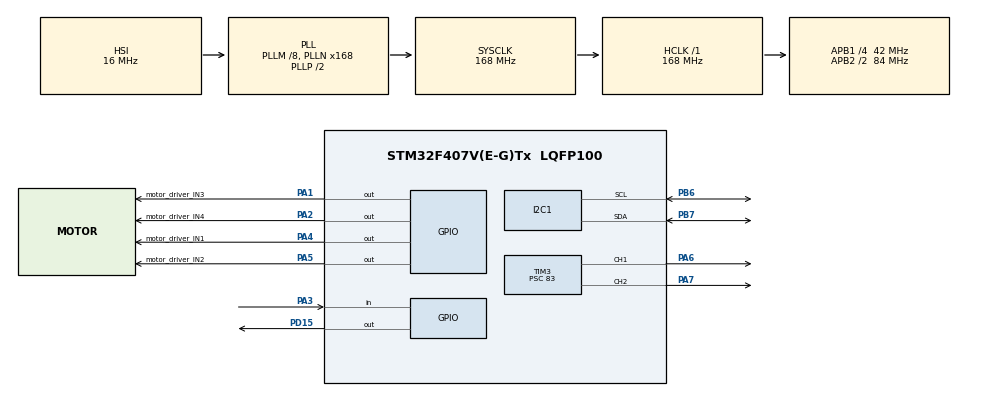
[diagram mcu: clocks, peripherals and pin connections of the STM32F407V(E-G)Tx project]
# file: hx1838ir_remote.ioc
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Mcu.Family=STM32F4
PH0-OSC_IN.Signal=RCC_OSC_IN
RCC.CortexFreq_Value=168000000
RCC.APB1CLKDivider=RCC_HCLK_DIV4
RCC.SYSCLKSource=RCC_SYSCLKSOURCE_PLLCLK
ProjectManager.StackSize=0x400
PA13.Signal=SYS_JTMS-SWDIO
ProjectManager.TargetToolchain=STM32CubeIDE
RCC.HCLKFreq_Value=168000000
RCC.APB2TimFreq_Value=168000000
TIM3.Period=9999
PB6.Signal=I2C1_SCL
PB6.Mode=I2C
RCC.LSE_VALUE=32768
PA1.Signal=GPIO_Output
RCC.AHBFreq_Value=168000000
PH0-OSC_IN.Mode=HSE-External-Oscillator
TIM3.Channel-PWM\ Generation1\ CH1=TIM_CHANNEL_1
PA5.Signal=GPIO_Output
SH.S_TIM3_CH2.0=TIM3_CH2,PWM Generation2 CH2
RCC.HSE_VALUE=8000000
board=custom
RCC.VCOOutputFreq_Value=336000000
RCC.APB2Freq_Value=84000000
PA14.Mode=Serial_Wire
TIM3.Prescaler=83
PA1.GPIO_Label=motor_driver_IN3
PH1-OSC_OUT.Signal=RCC_OSC_OUT
PB7.Signal=I2C1_SDA
SH.S_TIM3_CH1.0=TIM3_CH1,PWM Generation1 CH1
PA13.Mode=Serial_Wire
Mcu.Name=STM32F407V(E-G)Tx
PA2.Signal=GPIO_Output
PH1-OSC_OUT.Mode=HSE-External-Oscillator
RCC.48MHZClocksFreq_Value=84000000
PA4.Signal=GPIO_Output
RCC.SYSCLKFreq_VALUE=168000000
Mcu.Package=LQFP100
PA6.Signal=S_TIM3_CH1
PA5.GPIO_Label=motor_driver_IN2
PA2.GPIO_Label=motor_driver_IN4
PB7.Mode=I2C
PA14.Signal=SYS_JTCK-SWCLK
ProjectManager.HeapSize=0x200
RCC.HSI_VALUE=16000000
NVIC.PriorityGroup=NVIC_PRIORITYGROUP_4
RCC.APB2CLKDivider=RCC_HCLK_DIV2
TIM3.Channel-PWM\ Generation2\ CH2=TIM_CHANNEL_2
RCC.PLLM=8
RCC.PLLN=168
RCC.APB1TimFreq_Value=84000000
RCC.APB1Freq_Value=42000000
PA4.GPIO_Label=motor_driver_IN1
PD15.Signal=GPIO_Output
PA3.Signal=GPIO_Input
PA7.Signal=S_TIM3_CH2

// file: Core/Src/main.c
/* USER CODE BEGIN Header */
/**
  ******************************************************************************
  * @file           : main.c
  * @brief          : Main program body
  ******************************************************************************
  * @attention
  *
  * <h2><center>&copy; Copyright (c) 2021 STMicroelectronics.
  * All rights reserved.</center></h2>
  *
  * This software component is licensed by ST under BSD 3-Clause license,
  * the "License"; You may not use this file except in compliance with the
  * License. You may obtain a copy of the License at:
  *                        opensource.org/licenses/BSD-3-Clause
  *
  ******************************************************************************
  */
/* USER CODE END Header */
#include "main.h"

/* USER CODE BEGIN Includes */
#include "dwt_stm32_delay.h"
/* USER CODE END Includes */

I2C_HandleTypeDef hi2c1;

TIM_HandleTypeDef htim3;

void SystemClock_Config(void);
static void MX_GPIO_Init(void);
static void MX_I2C1_Init(void);
static void MX_TIM3_Init(void);

/* USER CODE BEGIN 0 */
uint32_t data;
uint8_t count;

uint32_t receive_data (void)
{
	uint32_t code=0;

		  /* The START Sequence begin here
	   * there will be a pulse of 9ms LOW and
	   * than 4.5 ms space (HIGH)
	   */
	  while (!(HAL_GPIO_ReadPin (GPIOA, GPIO_PIN_3)));  // wait for the pin to go high.. 9ms LOW

	  while ((HAL_GPIO_ReadPin (GPIOA, GPIO_PIN_3)));  // wait for the pin to go low.. 4.5ms HIGH

	  /* START of FRAME ends here*/

	  /* DATA Reception
	   * We are only going to check the SPACE after 562.5us pulse
	   * if the space is 562.5us, the bit indicates '0'
	   * if the space is around 1.6ms, the bit is '1'
	   */

	  for (int i=0; i<32; i++)
	  {
		  count=0;

		  while (!(HAL_GPIO_ReadPin (GPIOA, GPIO_PIN_3))); // wait for pin to go high.. this is 562.5us LOW

		  while ((HAL_GPIO_ReadPin (GPIOA, GPIO_PIN_3)))  // count the space length while the pin is high
		  {
			  count++;

			  DWT_Delay_us(100);

		  }

		  if (count > 12) // if the space is more than 1.2 ms
		  {
			  code |= (1UL << (31-i));   // write 1
		  }

		  else code &= ~(1UL << (31-i));  // write 0
	  }

		return code;
}

void ileri(int s)
	{
		TIM3 -> CCR1 = s;
		TIM3 -> CCR2= s;

		HAL_GPIO_WritePin(motor_driver_IN1_GPIO_Port, motor_driver_IN1_Pin, GPIO_PIN_SET);
		HAL_GPIO_WritePin(motor_driver_IN2_GPIO_Port, motor_driver_IN2_Pin, GPIO_PIN_RESET);

		HAL_GPIO_WritePin(motor_driver_IN3_GPIO_Port, motor_driver_IN3_Pin, GPIO_PIN_SET);
		HAL_GPIO_WritePin(motor_driver_IN4_GPIO_Port, motor_driver_IN4_Pin, GPIO_PIN_RESET);
	}
void geri(int s)
	{
		TIM3 -> CCR1 = s;
		TIM3 -> CCR2= s;

		HAL_GPIO_WritePin(motor_driver_IN1_GPIO_Port, motor_driver_IN1_Pin, GPIO_PIN_RESET);
		HAL_GPIO_WritePin(motor_driver_IN2_GPIO_Port, motor_driver_IN2_Pin, GPIO_PIN_SET);

		HAL_GPIO_WritePin(motor_driver_IN3_GPIO_Port, motor_driver_IN3_Pin, GPIO_PIN_RESET);
		HAL_GPIO_WritePin(motor_driver_IN4_GPIO_Port, motor_driver_IN4_Pin, GPIO_PIN_SET);
	}
void sag(int s)
	{
		TIM3 -> CCR1 = s;
		TIM3 -> CCR2= s;

		HAL_GPIO_WritePin(motor_driver_IN1_GPIO_Port, motor_driver_IN1_Pin, GPIO_PIN_RESET);
		HAL_GPIO_WritePin(motor_driver_IN2_GPIO_Port, motor_driver_IN2_Pin, GPIO_PIN_RESET);

		HAL_GPIO_WritePin(motor_driver_IN3_GPIO_Port, motor_driver_IN3_Pin, GPIO_PIN_SET);
		HAL_GPIO_WritePin(motor_driver_IN4_GPIO_Port, motor_driver_IN4_Pin, GPIO_PIN_RESET);
	}
void sol(int s)
	{
		TIM3 -> CCR1 = s;
		TIM3 -> CCR2= s;

		HAL_GPIO_WritePin(motor_driver_IN1_GPIO_Port, motor_driver_IN1_Pin, GPIO_PIN_SET);
		HAL_GPIO_WritePin(motor_driver_IN2_GPIO_Port, motor_driver_IN2_Pin, GPIO_PIN_RESET);

		HAL_GPIO_WritePin(motor_driver_IN3_GPIO_Port, motor_driver_IN3_Pin, GPIO_PIN_RESET);
		HAL_GPIO_WritePin(motor_driver_IN4_GPIO_Port, motor_driver_IN4_Pin, GPIO_PIN_RESET);
	}
void stop(int s)
	{
		TIM3 -> CCR1 = s;
		TIM3 -> CCR2= s;

		HAL_GPIO_WritePin(motor_driver_IN1_GPIO_Port, motor_driver_IN1_Pin, GPIO_PIN_RESET);
		HAL_GPIO_WritePin(motor_driver_IN2_GPIO_Port, motor_driver_IN2_Pin, GPIO_PIN_RESET);

		HAL_GPIO_WritePin(motor_driver_IN3_GPIO_Port, motor_driver_IN3_Pin, GPIO_PIN_RESET);
		HAL_GPIO_WritePin(motor_driver_IN4_GPIO_Port, motor_driver_IN4_Pin, GPIO_PIN_RESET);
	}

void convert_code (uint32_t code)
{
		switch (code)
		{
			case (2155842675)://2
		    ileri(2000);
			break;

			case (2155849050)://8
			geri(2000);
		    break;

			case (2155841655)://4
			sol(2000);
			break;

			case (2155851090)://6
			sag(2000);
			break;

			case (2155846755)://5
			stop(2000);
			break;

			default :
				break;

		}

}
/* USER CODE END 0 */

int main(void)
{

  /* MCU Configuration--------------------------------------------------------*/

  /* Reset of all peripherals, Initializes the Flash interface and the Systick. */

	HAL_Init();

  /* Configure the system clock */
  SystemClock_Config();

  /* Initialize all configured peripherals */
  MX_GPIO_Init();
  MX_I2C1_Init();
  MX_TIM3_Init();
  /* USER CODE BEGIN 2 */
  DWT_Delay_Init();
  HAL_TIM_PWM_Start(&htim3, TIM_CHANNEL_1);
  HAL_TIM_PWM_Start(&htim3, TIM_CHANNEL_2);
  /* USER CODE END 2 */

  /* Infinite loop */
  while (1)
  {

    /* USER CODE BEGIN 3 */
	//  while (HAL_GPIO_ReadPin (GPIOA, GPIO_PIN_1));   // wait for the pin to go low

	  		data = receive_data ();

	  		convert_code (data);

	  		HAL_Delay (200);
  }
  /* USER CODE END 3 */
}

void SystemClock_Config(void)
{
  RCC_OscInitTypeDef RCC_OscInitStruct = {0};
  RCC_ClkInitTypeDef RCC_ClkInitStruct = {0};

  /** Configure the main internal regulator output voltage
  */
  __HAL_RCC_PWR_CLK_ENABLE();
  __HAL_PWR_VOLTAGESCALING_CONFIG(PWR_REGULATOR_VOLTAGE_SCALE1);
  /** Initializes the RCC Oscillators according to the specified parameters
  * in the RCC_OscInitTypeDef structure.
  */
  RCC_OscInitStruct.OscillatorType = RCC_OSCILLATORTYPE_HSI;
  RCC_OscInitStruct.HSIState = RCC_HSI_ON;
  RCC_OscInitStruct.HSICalibrationValue = RCC_HSICALIBRATION_DEFAULT;
  RCC_OscInitStruct.PLL.PLLState = RCC_PLL_ON;
  RCC_OscInitStruct.PLL.PLLSource = RCC_PLLSOURCE_HSI;
  RCC_OscInitStruct.PLL.PLLM = 8;
  RCC_OscInitStruct.PLL.PLLN = 168;
  RCC_OscInitStruct.PLL.PLLP = RCC_PLLP_DIV2;
  RCC_OscInitStruct.PLL.PLLQ = 4;
  if (HAL_RCC_OscConfig(&RCC_OscInitStruct) != HAL_OK)
  {
    Error_Handler();
  }
  /** Initializes the CPU, AHB and APB buses clocks
  */
  RCC_ClkInitStruct.ClockType = RCC_CLOCKTYPE_HCLK|RCC_CLOCKTYPE_SYSCLK
                              |RCC_CLOCKTYPE_PCLK1|RCC_CLOCKTYPE_PCLK2;
  RCC_ClkInitStruct.SYSCLKSource = RCC_SYSCLKSOURCE_PLLCLK;
  RCC_ClkInitStruct.AHBCLKDivider = RCC_SYSCLK_DIV1;
  RCC_ClkInitStruct.APB1CLKDivider = RCC_HCLK_DIV4;
  RCC_ClkInitStruct.APB2CLKDivider = RCC_HCLK_DIV2;

  if (HAL_RCC_ClockConfig(&RCC_ClkInitStruct, FLASH_LATENCY_5) != HAL_OK)
  {
    Error_Handler();
  }
}

static void MX_I2C1_Init(void)
{

  hi2c1.Instance = I2C1;
  hi2c1.Init.ClockSpeed = 100000;
  hi2c1.Init.DutyCycle = I2C_DUTYCYCLE_2;
  hi2c1.Init.OwnAddress1 = 0;
  hi2c1.Init.AddressingMode = I2C_ADDRESSINGMODE_7BIT;
  hi2c1.Init.DualAddressMode = I2C_DUALADDRESS_DISABLE;
  hi2c1.Init.OwnAddress2 = 0;
  hi2c1.Init.GeneralCallMode = I2C_GENERALCALL_DISABLE;
  hi2c1.Init.NoStretchMode = I2C_NOSTRETCH_DISABLE;
  if (HAL_I2C_Init(&hi2c1) != HAL_OK)
  {
    Error_Handler();
  }

}

static void MX_TIM3_Init(void)
{

  TIM_MasterConfigTypeDef sMasterConfig = {0};
  TIM_OC_InitTypeDef sConfigOC = {0};

  htim3.Instance = TIM3;
  htim3.Init.Prescaler = 83;
  htim3.Init.CounterMode = TIM_COUNTERMODE_UP;
  htim3.Init.Period = 9999;
  htim3.Init.ClockDivision = TIM_CLOCKDIVISION_DIV1;
  htim3.Init.AutoReloadPreload = TIM_AUTORELOAD_PRELOAD_DISABLE;
  if (HAL_TIM_PWM_Init(&htim3) != HAL_OK)
  {
    Error_Handler();
  }
  sMasterConfig.MasterOutputTrigger = TIM_TRGO_RESET;
  sMasterConfig.MasterSlaveMode = TIM_MASTERSLAVEMODE_DISABLE;
  if (HAL_TIMEx_MasterConfigSynchronization(&htim3, &sMasterConfig) != HAL_OK)
  {
    Error_Handler();
  }
  sConfigOC.OCMode = TIM_OCMODE_PWM1;
  sConfigOC.Pulse = 0;
  sConfigOC.OCPolarity = TIM_OCPOLARITY_HIGH;
  sConfigOC.OCFastMode = TIM_OCFAST_DISABLE;
  if (HAL_TIM_PWM_ConfigChannel(&htim3, &sConfigOC, TIM_CHANNEL_1) != HAL_OK)
  {
    Error_Handler();
  }
  if (HAL_TIM_PWM_ConfigChannel(&htim3, &sConfigOC, TIM_CHANNEL_2) != HAL_OK)
  {
    Error_Handler();
  }
  HAL_TIM_MspPostInit(&htim3);

}

static void MX_GPIO_Init(void)
{
  GPIO_InitTypeDef GPIO_InitStruct = {0};

  /* GPIO Ports Clock Enable */
  __HAL_RCC_GPIOH_CLK_ENABLE();
  __HAL_RCC_GPIOA_CLK_ENABLE();
  __HAL_RCC_GPIOD_CLK_ENABLE();
  __HAL_RCC_GPIOB_CLK_ENABLE();

  /*Configure GPIO pin Output Level */
  HAL_GPIO_WritePin(GPIOA, motor_driver_IN3_Pin|motor_driver_IN4_Pin|motor_driver_IN1_Pin|motor_driver_IN2_Pin, GPIO_PIN_RESET);

  /*Configure GPIO pin Output Level */
  HAL_GPIO_WritePin(GPIOD, GPIO_PIN_15, GPIO_PIN_RESET);

  /*Configure GPIO pins : motor_driver_IN3_Pin motor_driver_IN4_Pin motor_driver_IN1_Pin motor_driver_IN2_Pin */
  GPIO_InitStruct.Pin = motor_driver_IN3_Pin|motor_driver_IN4_Pin|motor_driver_IN1_Pin|motor_driver_IN2_Pin;
  GPIO_InitStruct.Mode = GPIO_MODE_OUTPUT_PP;
  GPIO_InitStruct.Pull = GPIO_NOPULL;
  GPIO_InitStruct.Speed = GPIO_SPEED_FREQ_LOW;
  HAL_GPIO_Init(GPIOA, &GPIO_InitStruct);

  /*Configure GPIO pin : PA3 */
  GPIO_InitStruct.Pin = GPIO_PIN_3;
  GPIO_InitStruct.Mode = GPIO_MODE_INPUT;
  GPIO_InitStruct.Pull = GPIO_NOPULL;
  HAL_GPIO_Init(GPIOA, &GPIO_InitStruct);

  /*Configure GPIO pin : PD15 */
  GPIO_InitStruct.Pin = GPIO_PIN_15;
  GPIO_InitStruct.Mode = GPIO_MODE_OUTPUT_PP;
  GPIO_InitStruct.Pull = GPIO_NOPULL;
  GPIO_InitStruct.Speed = GPIO_SPEED_FREQ_LOW;
  HAL_GPIO_Init(GPIOD, &GPIO_InitStruct);

}

void Error_Handler(void)
{
  __disable_irq();
  while (1)
  {
  }
}

/************************ (C) COPYRIGHT STMicroelectronics *****END OF FILE****/
